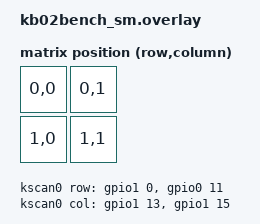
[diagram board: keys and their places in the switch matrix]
/*
 * kb02bench_sm — SuperMini nRF52840（nice!nano v2 互換）＋ SK8707-01 ＋ 2×2 仮マトリクス
 *
 * 用途：XIAO 到着前の事前ベンチ（検証 A/B）。技適なしのため build.yaml で CONFIG_ZMK_BLE=n（USB のみ）。
 * ボード：nice_nano_v2
 */

#include <dt-bindings/zmk/matrix_transform.h>

/ {
    chosen {
        zmk,kscan = &kscan0;
        zmk,matrix-transform = &default_transform;
    };

    default_transform: keymap_transform_0 {
        compatible = "zmk,matrix-transform";
        columns = <2>;
        rows = <2>;
        map = <
            RC(0,0) RC(0,1)
            RC(1,0) RC(1,1)
        >;
    };

    kscan0: kscan0 {
        compatible = "zmk,kscan-gpio-matrix";
        wakeup-source;
        diode-direction = "col2row";

        row-gpios
            = <&gpio1 0  (GPIO_ACTIVE_HIGH | GPIO_PULL_DOWN)>   /* ROW0 = D6  P1.00 */
            , <&gpio0 11 (GPIO_ACTIVE_HIGH | GPIO_PULL_DOWN)>   /* ROW1 = D7  P0.11 */
            ;
        col-gpios
            = <&gpio1 13 GPIO_ACTIVE_HIGH>                      /* COL0 = D15 P1.13 */
            , <&gpio1 15 GPIO_ACTIVE_HIGH>                      /* COL1 = D18 P1.15 */
            ;
    };
};

/* ---------- PS/2 TrackPoint（SuperMini：Pro Micro の SDA/SCL = D2/D3、高周波ピン） ---------- */
#define MOUSE_PS2_DRIVER_UART

#define MOUSE_PS2_PIN_SCL          <&gpio0 20 GPIO_ACTIVE_HIGH>   /* CLK  = D3 P0.20 */
#define MOUSE_PS2_PIN_SDA          <&gpio0 17 GPIO_ACTIVE_HIGH>   /* DATA = D2 P0.17 */
#define MOUSE_PS2_PIN_SDA_PINCTRL  <NRF_PSEL(UART_RX, 0, 17)>
#define MOUSE_PS2_PIN_RST          <&gpio1 6  GPIO_ACTIVE_HIGH>   /* RST  = D9 P1.06 */

// nice!nano 系の未露出ピン（サンプルどおり。変更不要）
#define MOUSE_PS2_PIN_UNEXPOSED_TX <NRF_PSEL(UART_TX, 0, 27)>
#define MOUSE_PS2_PIN_UNEXPOSED_RX <NRF_PSEL(UART_RX, 0, 28)>

#define MOUSE_PS2_UART_BAUD_RATE   <14400>

#include "../kb02_common/tp_irq_priorities.dtsi"
#include "../kb02_common/tp_ps2.dtsi"
